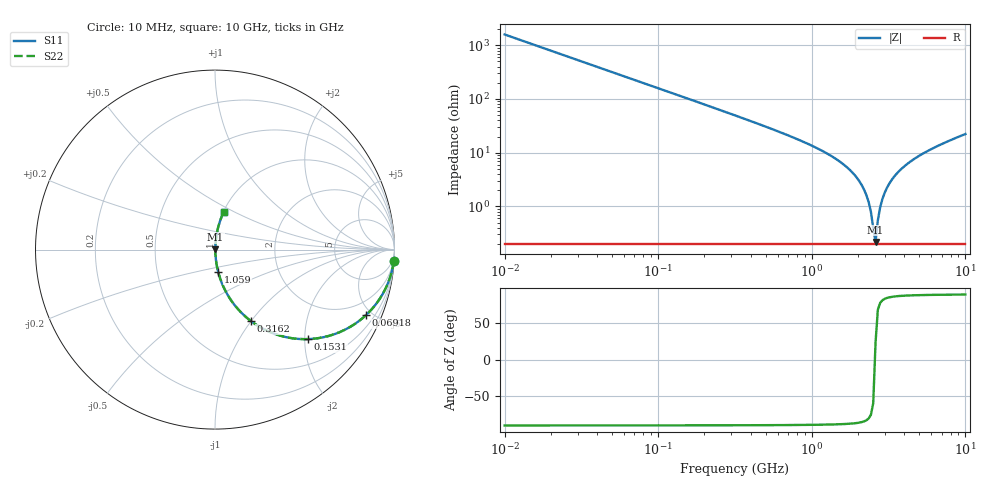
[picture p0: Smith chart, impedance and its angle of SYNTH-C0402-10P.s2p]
! Manufacturer: Synthetic (not a real part)
! Synthetic example generated by SmithChart.Online from an equivalent circuit.
! Not measured data and not a manufacturer file.
! Circuit: C 1e-11 F, ESL 3.8e-10 H, ESR 0.2 ohm in series
! Fixture: series-through
# MHZ S RI R 50
! f S11 S21 S12 S22
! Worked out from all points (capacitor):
!   201 points, 10 MHz to 10 GHz, reference 50 ohm
!   read as one part in series: C = 10 pF near 10.35 MHz
!   lowest |Z| = 218 mohm at 2.6 GHz (marker M1)
!   series resonance near 2.582 GHz, so ESL is about 380 pH
!   S11 on the Smith chart (normalised r, x): 10 MHz: 1, -32; 69.18 MHz: 1.00, -4.60; 153.1 MHz: 1.00, -2.07; 316.2 MHz: 1.00, -0.99; 1.059 GHz: 1.00, -0.25; 10 GHz: 1.00, +0.45
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10  0.9961 -0.0626  0.00394 0.0626  0.00394 0.0626  0.9961 -0.0626
32.35937  0.9602 -0.1952  0.0398 0.1952  0.0398 0.1952  0.9602 -0.1952
69.1831  0.8407 -0.3656  0.1593 0.3656  0.1593 0.3656  0.8407 -0.3656
101.1579  0.7114 -0.4525  0.2886 0.4525  0.2886 0.4525  0.7114 -0.4525
153.1087  0.5176 -0.4987  0.4824 0.4987  0.4824 0.4987  0.5176 -0.4987
316.2278  0.1982 -0.3967  0.8018 0.3967  0.8018 0.3967  0.1982 -0.3967
530.8844  0.0777 -0.2643  0.9223 0.2643  0.9223 0.2643  0.0777 -0.2643
1023.293  0.0188 -0.1284  0.9812 0.1284  0.9812 0.1284  0.0188 -0.1284
1059.254  0.0173 -0.1226  0.9827 0.1226  0.9827 0.1226  0.0173 -0.1226
1603.245  0.00568 -0.0605  0.9943 0.0605  0.9943 0.0605  0.00568 -0.0605
2041.738  0.00284 -0.0291  0.9972 0.0291  0.9972 0.0291  0.00284 -0.0291
2187.762  0.00241 -0.0204  0.9976 0.0204  0.9976 0.0204  0.00241 -0.0204
2344.229  0.00214 -0.0119  0.9979 0.0119  0.9979 0.0119  0.00214 -0.0119
2426.61  0.00205 -0.00762  0.9979 0.00762  0.9979 0.00762  0.00205 -0.00762
2600.16  0.002 0.000869  0.998 -0.000869  0.998 -0.000869  0.002 0.000869
2691.535  0.00202 0.00511  0.998 -0.00511  0.998 -0.00511  0.00202 0.00511
2786.121  0.00208 0.00936  0.9979 -0.00936  0.9979 -0.00936  0.00208 0.00936
2985.383  0.00232 0.0179  0.9977 -0.0179  0.9977 -0.0179  0.00232 0.0179
3198.895  0.0027 0.0265  0.9973 -0.0265  0.9973 -0.0265  0.0027 0.0265
3801.894  0.00437 0.0486  0.9956 -0.0486  0.9956 -0.0486  0.00437 0.0486
4677.351  0.00795 0.0769  0.992 -0.0769  0.992 -0.0769  0.00795 0.0769
10000  0.049 0.2115  0.951 -0.2115  0.951 -0.2115  0.049 0.2115
